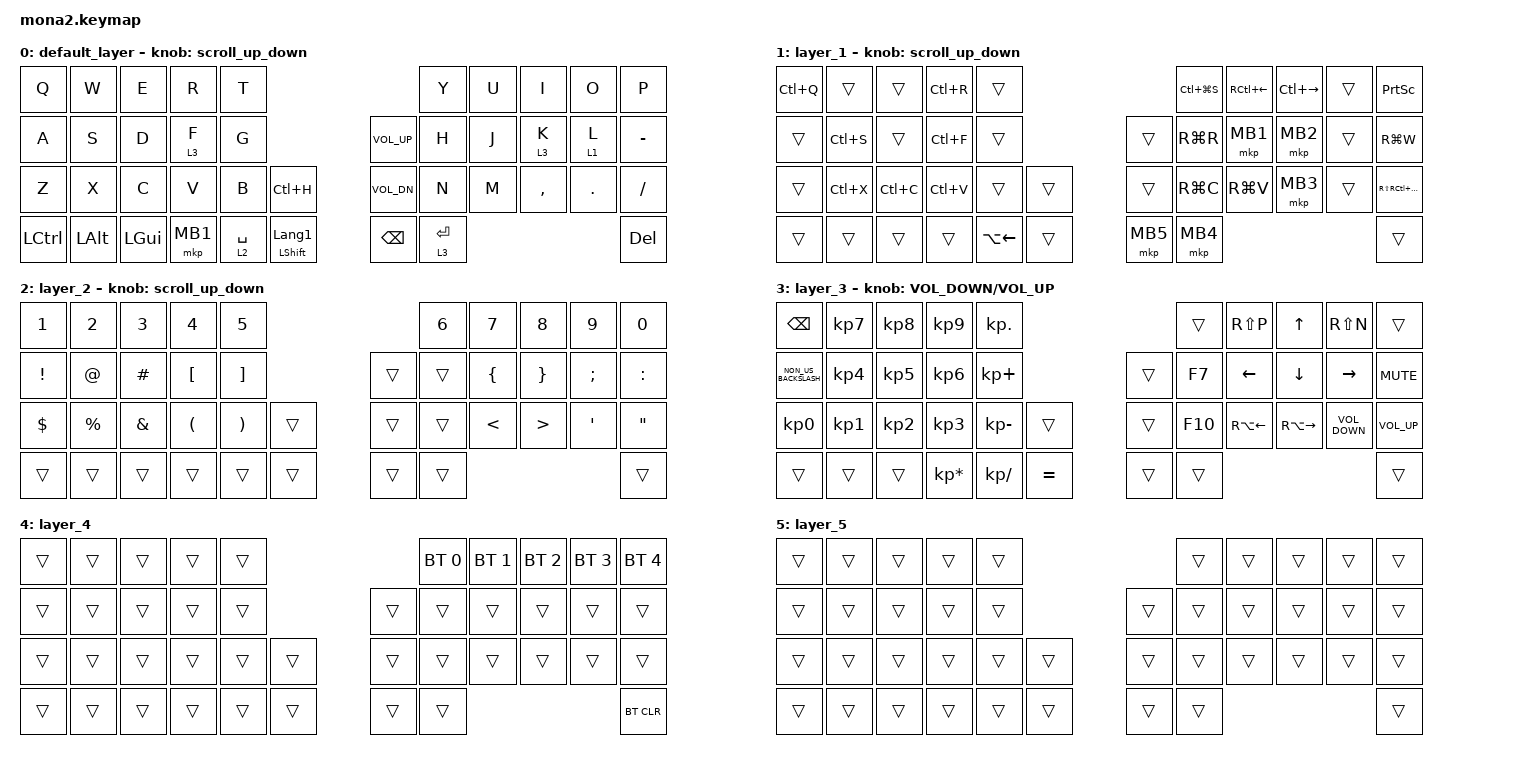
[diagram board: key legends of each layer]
#include <input/processors.dtsi>
#include <dt-bindings/zmk/input_transform.h>
#include <zephyr/dt-bindings/input/input-event-codes.h>
#include <behaviors.dtsi>
#include <dt-bindings/zmk/bt.h>
#include <dt-bindings/zmk/keys.h>
#include <dt-bindings/zmk/pointing.h>

#define ZMK_POINTING_DEFAULT_SCRL_VAL 100
#define MOUSE 5
#define SCROLL 3

&mt {
    flavor = "balanced";
    quick-tap-ms = <0>;
};

&lt {
    quick-tap-ms = <300>;
    flavor = "balanced";
};

/ {
    combos {
        compatible = "zmk,combos";

        studio-unlock {
            bindings = <&studio_unlock>;
            key-positions = <26 27>;
        };

        lang2 {
            bindings = <&kp LANG2>;
            key-positions = <12 13>;
        };

        mb3 {
            bindings = <&mkp MB3>;
            key-positions = <17 18>;
        };

        mb2 {
            bindings = <&mkp MB2>;
            key-positions = <19 20>;
        };

        escape {
            bindings = <&kp ESC>;
            key-positions = <38 26>;
        };

        blue {
            bindings = <&lt 4 ESC>;
            key-positions = <33 34 35>;
        };
    };

    macros {
        to_layer_0: to_layer_0 {
            compatible = "zmk,behavior-macro-one-param";
            #binding-cells = <1>;
            bindings = <&to 0 &macro_param_1to1 &kp MACRO_PLACEHOLDER>;
            label = "TO_LAYER_0";
        };
    };

    behaviors {
        lt_to_layer_0: lt_to_layer_0 {
            compatible = "zmk,behavior-hold-tap";
            label = "LAYER_TAP_TO_0";
            bindings = <&mo>, <&to_layer_0>;

            #binding-cells = <2>;
            tapping-term-ms = <200>;
        };

        scroll_up_down: mouse_wheel_up_down {
            compatible = "zmk,behavior-sensor-rotate";
            #sensor-binding-cells = <0>;
            bindings = <&msc SCRL_DOWN>, <&msc SCRL_UP>;

            tap-ms = <20>;
        };

        scroll_right_left: mouse_wheel_right_left {
            compatible = "zmk,behavior-sensor-rotate";
            #sensor-binding-cells = <0>;
            bindings = <&msc SCRL_LEFT>, <&msc SCRL_RIGHT>;

            tap-ms = <20>;
        };
    };

    keymap {
        compatible = "zmk,keymap";

        default_layer {
            bindings = <
&kp Q      &kp W         &kp E         &kp R     &kp T                                                    &kp Y        &kp U  &kp I      &kp O    &kp P
&kp A      &kp S         &kp D         &lt 3 F   &kp G                                     &kp C_VOL_UP   &kp H        &kp J  &lt 3 K    &lt 1 L  &kp MINUS
&kp Z      &kp X         &kp C         &kp V     &kp B        &kp LC(H)                    &kp C_VOL_DN   &kp N        &kp M  &kp COMMA  &kp DOT  &kp SLASH
&kp LCTRL  &kp LEFT_ALT  &kp LEFT_GUI  &mkp MB1  &lt 2 SPACE  &mt LEFT_SHIFT LANGUAGE_1    &kp BACKSPACE  &lt 3 ENTER                             &kp DELETE
            >;

            sensor-bindings = <&scroll_up_down>;
        };

        layer_1 {
            bindings = <
&kp LC(Q)  &trans     &trans     &kp LC(R)  &trans                                  &kp LC(LG(S))  &kp RC(LEFT_ARROW)  &kp LC(RIGHT_ARROW)  &trans  &kp PRINTSCREEN
&trans     &kp LC(S)  &trans     &kp LC(F)  &trans                        &trans    &kp RG(R)      &mkp MB1            &mkp MB2             &trans  &kp RG(W)
&trans     &kp LC(X)  &kp LC(C)  &kp LC(V)  &trans              &trans    &trans    &kp RG(C)      &kp RG(V)           &mkp MB3             &trans  &kp RS(RC(RG(NUMBER_4)))
&trans     &trans     &trans     &trans     &kp LA(LEFT_ARROW)  &trans    &mkp MB5  &mkp MB4                                                        &trans
            >;

            sensor-bindings = <&scroll_up_down>;
        };

        layer_2 {
            bindings = <
&kp NUMBER_1     &kp NUMBER_2  &kp NUMBER_3   &kp NUMBER_4          &kp N5                                   &kp NUMBER_6  &kp N7          &kp N8            &kp NUMBER_9      &kp NUMBER_0
&kp EXCLAMATION  &kp AT        &kp HASH       &kp LEFT_BRACKET      &kp RIGHT_BRACKET                &trans  &trans        &kp LEFT_BRACE  &kp RIGHT_BRACE   &kp SEMICOLON     &kp COLON
&kp DOLLAR       &kp PERCENT   &kp AMPERSAND  &kp LEFT_PARENTHESIS  &kp RIGHT_PARENTHESIS  &trans    &trans  &trans        &kp LESS_THAN   &kp GREATER_THAN  &kp SINGLE_QUOTE  &kp DOUBLE_QUOTES
&trans           &trans        &trans         &trans                &trans                 &trans    &trans  &trans                                                            &trans
            >;

            sensor-bindings = <&scroll_up_down>;
        };

        layer_3 {
            bindings = <
&kp BACKSPACE         &kp KP_NUMBER_7  &kp KP_NUMBER_8  &kp KP_NUMBER_9  &kp KP_DOT                         &trans   &kp RS(P)           &kp UP_ARROW         &kp RS(N)          &trans
&kp NON_US_BACKSLASH  &kp KP_NUMBER_4  &kp KP_NUMBER_5  &kp KP_NUMBER_6  &kp KP_PLUS                &trans  &kp F7   &kp LEFT_ARROW      &kp DOWN_ARROW       &kp RIGHT_ARROW    &kp K_MUTE
&kp KP_NUMBER_0       &kp KP_NUMBER_1  &kp KP_NUMBER_2  &kp KP_NUMBER_3  &kp KP_MINUS  &trans       &trans  &kp F10  &kp RA(LEFT_ARROW)  &kp RA(RIGHT_ARROW)  &kp C_VOLUME_DOWN  &kp C_VOLUME_UP
&trans                &trans           &trans           &kp KP_MULTIPLY  &kp KP_SLASH  &kp EQUAL    &trans  &trans                                                               &trans
            >;

            sensor-bindings = <&inc_dec_kp C_VOLUME_DOWN C_VOLUME_UP>;
        };

        layer_4 {
            bindings = <
&trans  &trans  &trans  &trans  &trans                    &bt BT_SEL 0  &bt BT_SEL 1  &bt BT_SEL 2  &bt BT_SEL 3  &bt BT_SEL 4
&trans  &trans  &trans  &trans  &trans            &trans  &trans        &trans        &trans        &trans        &trans
&trans  &trans  &trans  &trans  &trans  &trans    &trans  &trans        &trans        &trans        &trans        &trans
&trans  &trans  &trans  &trans  &trans  &trans    &trans  &trans                                                  &bt BT_CLR
            >;
        };

        layer_5 {
            bindings = <
&trans  &trans  &trans  &trans  &trans                    &trans  &trans  &trans  &trans  &trans
&trans  &trans  &trans  &trans  &trans            &trans  &trans  &trans  &trans  &trans  &trans
&trans  &trans  &trans  &trans  &trans  &trans    &trans  &trans  &trans  &trans  &trans  &trans
&trans  &trans  &trans  &trans  &trans  &trans    &trans  &trans                          &trans
            >;
        };
    };
};
